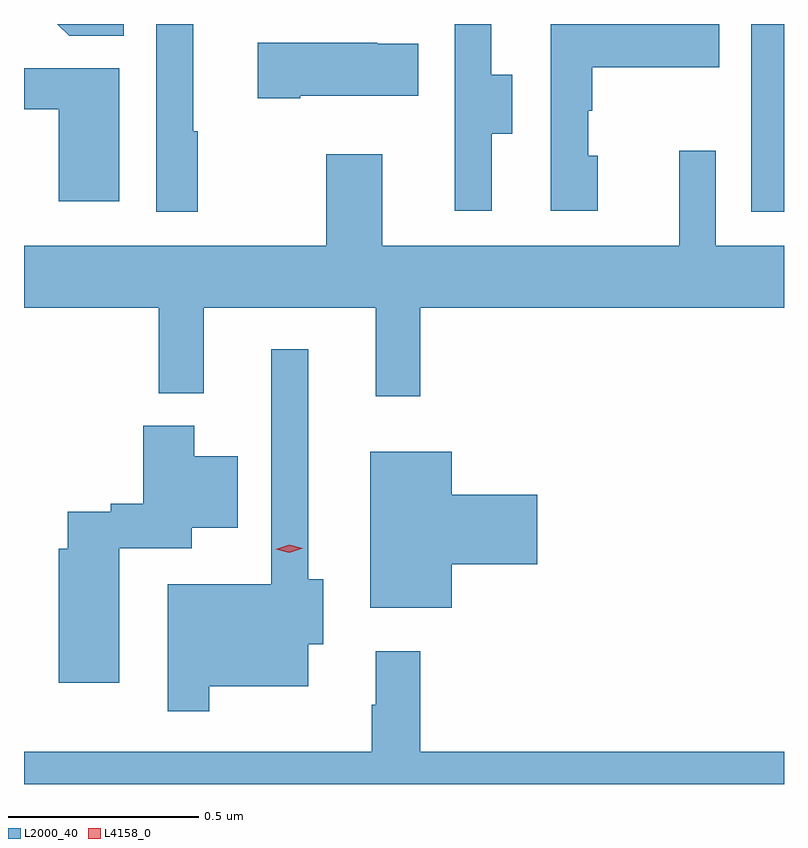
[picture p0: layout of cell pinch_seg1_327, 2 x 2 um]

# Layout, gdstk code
import gdstk
lib = gdstk.Library(unit=1e-6, precision=1e-09)
def R(c, l, rs):  # rectangles x0, y0, x1, y1
    for r in rs: c.add(gdstk.rectangle(r[:2], r[2:], *l))
def P(c, l, *ps):  # polygons
    for p in ps: c.add(gdstk.Polygon(p, *l))
L2000_40 = (2000, 40)
L4158_0 = (4158, 0)

pinch_seg1_327 = lib.new_cell('pinch_seg1_327')
R(pinch_seg1_327, L2000_40, [(1002.108,547.989,1002.194,548.483)])
P(pinch_seg1_327, L2000_40, [(1000.651,548.201),(1000.639,548.201),(1000.639,548.483),(1000.542,548.483),(1000.542,547.989),(1000.651,547.989)],
  [(1001.425,548.194),(1001.479,548.194),(1001.479,548.349),(1001.424,548.349),(1001.424,548.483),(1001.328,548.483),(1001.328,548.205),(1001.327,548.205),(1001.327,547.992),(1001.425,547.992)],
  [(1000.457,548.483),(1000.282,548.483),(1000.313,548.452),(1000.457,548.452)],
  [(1001.704,548.136),(1001.679,548.136),(1001.679,548.255),(1001.689,548.255),(1001.689,548.369),(1002.023,548.369),(1002.023,548.483),(1001.58,548.483),(1001.58,547.992),(1001.704,547.992)],
  [(1000.921,548.294),(1001.231,548.294),(1001.231,548.431),(1001.123,548.431),(1001.123,548.434),(1000.809,548.434),(1000.809,548.287),(1000.921,548.287)],
  [(1000.444,548.367),(1000.194,548.367),(1000.194,548.259),(1000.286,548.259),(1000.286,548.016),(1000.444,548.016)],
  [(1001.237,547.736),(1002.194,547.736),(1002.194,547.9),(1002.015,547.9),(1002.015,548.149),(1001.918,548.149),(1001.918,547.9),(1001.137,547.9),(1001.137,548.14),(1000.99,548.14),(1000.99,547.9),(1000.194,547.9),(1000.194,547.736),(1000.549,547.736),(1000.549,547.511),(1000.667,547.511),(1000.667,547.736),(1001.12,547.736),(1001.12,547.503),(1001.237,547.503)],
  [(1000.681,546.74),(1000.942,546.74),(1000.942,546.851),(1000.981,546.851),(1000.981,547.022),(1000.942,547.022),(1000.942,547.627),(1000.845,547.627),(1000.845,547.009),(1000.572,547.009),(1000.572,546.675),(1000.681,546.675)],
  [(1000.444,547.104),(1000.636,547.104),(1000.636,547.157),(1000.756,547.157),(1000.756,547.345),(1000.642,547.345),(1000.642,547.426),(1000.508,547.426),(1000.508,547.22),(1000.422,547.22),(1000.422,547.2),(1000.309,547.2),(1000.309,547.102),(1000.286,547.102),(1000.286,546.75),(1000.444,546.75)],
  [(1001.32,547.061),(1001.545,547.061),(1001.545,547.244),(1001.32,547.244),(1001.32,547.357),(1001.105,547.357),(1001.105,546.947),(1001.32,546.947)],
  [(1002.194,546.568),(1001.237,546.568),(1001.237,546.832),(1001.12,546.832),(1001.12,546.692),(1001.109,546.692),(1001.109,546.568),(1000.194,546.568),(1000.194,546.483),(1002.194,546.483)])
P(pinch_seg1_327, L4158_0, [(1000.892,547.092),(1000.857,547.101),(1000.856,547.101),(1000.857,547.101),(1000.892,547.112),(1000.928,547.103),(1000.928,547.103),(1000.928,547.103)])

lib.write_gds('pinch_seg1_327.gds')
